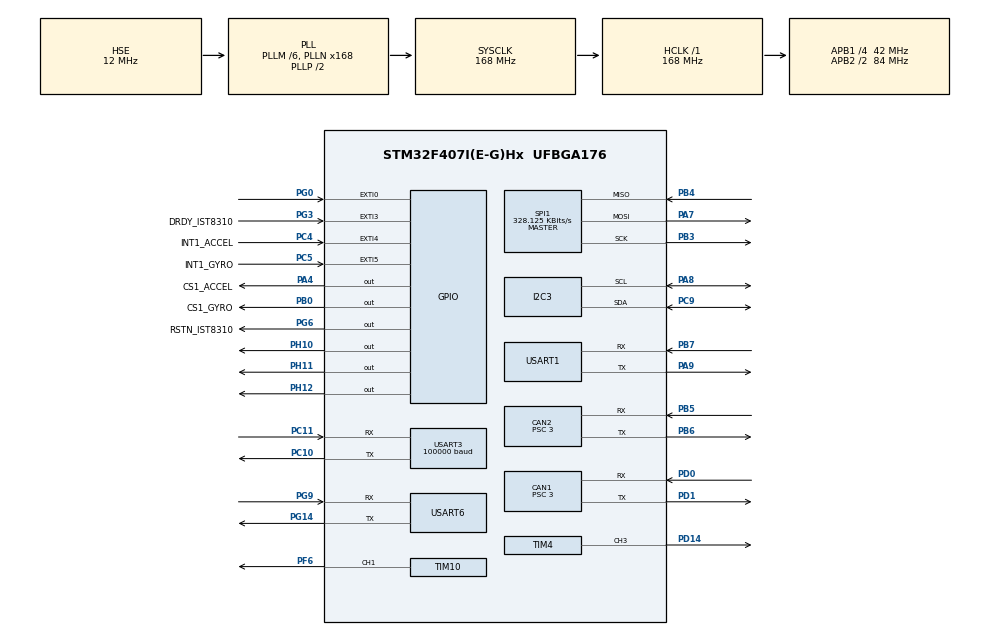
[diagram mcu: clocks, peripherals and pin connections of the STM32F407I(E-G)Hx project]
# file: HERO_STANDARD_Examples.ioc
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CAN1.BS1=CAN_BS1_10TQ
CAN1.BS2=CAN_BS2_3TQ
CAN1.CalculateTimeQuantum=71.42857142857143
CAN1.Prescaler=3
CAN2.BS1=CAN_BS1_10TQ
CAN2.BS2=CAN_BS2_3TQ
CAN2.CalculateTimeQuantum=71.42857142857143
CAN2.Prescaler=3
Dma.Request0=SPI1_RX
Dma.Request1=SPI1_TX
Dma.Request2=USART3_RX
Dma.SPI1_RX.0.Direction=DMA_PERIPH_TO_MEMORY
Dma.SPI1_RX.0.FIFOMode=DMA_FIFOMODE_DISABLE
Dma.SPI1_RX.0.Instance=DMA2_Stream2
Dma.SPI1_RX.0.MemDataAlignment=DMA_MDATAALIGN_BYTE
Dma.SPI1_RX.0.MemInc=DMA_MINC_ENABLE
Dma.SPI1_RX.0.Mode=DMA_NORMAL
Dma.SPI1_RX.0.PeriphDataAlignment=DMA_PDATAALIGN_BYTE
Dma.SPI1_RX.0.PeriphInc=DMA_PINC_DISABLE
Dma.SPI1_RX.0.Priority=DMA_PRIORITY_VERY_HIGH
Dma.SPI1_TX.1.Direction=DMA_MEMORY_TO_PERIPH
Dma.SPI1_TX.1.FIFOMode=DMA_FIFOMODE_DISABLE
Dma.SPI1_TX.1.Instance=DMA2_Stream3
Dma.SPI1_TX.1.MemDataAlignment=DMA_MDATAALIGN_BYTE
Dma.SPI1_TX.1.MemInc=DMA_MINC_ENABLE
Dma.SPI1_TX.1.Mode=DMA_NORMAL
Dma.SPI1_TX.1.PeriphDataAlignment=DMA_PDATAALIGN_BYTE
Dma.SPI1_TX.1.PeriphInc=DMA_PINC_DISABLE
Dma.SPI1_TX.1.Priority=DMA_PRIORITY_HIGH
Dma.USART3_RX.2.Direction=DMA_PERIPH_TO_MEMORY
Dma.USART3_RX.2.FIFOMode=DMA_FIFOMODE_DISABLE
Dma.USART3_RX.2.Instance=DMA1_Stream1
Dma.USART3_RX.2.MemDataAlignment=DMA_MDATAALIGN_BYTE
Dma.USART3_RX.2.MemInc=DMA_MINC_ENABLE
Dma.USART3_RX.2.Mode=DMA_NORMAL
Dma.USART3_RX.2.PeriphDataAlignment=DMA_PDATAALIGN_BYTE
Dma.USART3_RX.2.PeriphInc=DMA_PINC_DISABLE
Dma.USART3_RX.2.Priority=DMA_PRIORITY_HIGH
FREERTOS.INCLUDE_eTaskGetState=1
FREERTOS.INCLUDE_pcTaskGetTaskName=1
FREERTOS.INCLUDE_uxTaskGetStackHighWaterMark=1
FREERTOS.INCLUDE_vTaskCleanUpResources=1
FREERTOS.INCLUDE_vTaskDelayUntil=1
FREERTOS.INCLUDE_xEventGroupSetBitFromISR=1
FREERTOS.INCLUDE_xQueueGetMutexHolder=1
FREERTOS.INCLUDE_xSemaphoreGetMutexHolder=1
FREERTOS.INCLUDE_xTaskAbortDelay=1
FREERTOS.INCLUDE_xTaskGetCurrentTaskHandle=1
FREERTOS.INCLUDE_xTaskGetHandle=1
FREERTOS.INCLUDE_xTimerPendFunctionCall=1
FREERTOS.Tasks01=test,24,128,test_task,As weak,NULL,Dynamic,NULL,NULL
FREERTOS.configTOTAL_HEAP_SIZE=24576
I2C3.I2C_Mode=I2C_Fast
Mcu.Family=STM32F4
Mcu.Name=STM32F407I(E-G)Hx
Mcu.Package=UFBGA176
NVIC.CAN1_RX0_IRQn=true\:5\:0\:false\:false\:true\:true\:true\:true
NVIC.CAN2_RX0_IRQn=true\:5\:0\:false\:false\:true\:true\:true\:true
NVIC.DMA1_Stream1_IRQn=true\:5\:0\:false\:false\:true\:true\:false\:true
NVIC.DMA2_Stream2_IRQn=true\:5\:0\:false\:false\:true\:false\:false\:true
NVIC.DMA2_Stream3_IRQn=true\:5\:0\:false\:false\:true\:true\:false\:true
NVIC.EXTI0_IRQn=true\:6\:0\:true\:false\:true\:true\:true\:true
NVIC.EXTI3_IRQn=true\:5\:0\:true\:false\:true\:true\:true\:true
NVIC.EXTI4_IRQn=true\:5\:0\:true\:false\:true\:true\:true\:true
NVIC.EXTI9_5_IRQn=true\:5\:0\:true\:false\:true\:true\:true\:true
NVIC.PriorityGroup=NVIC_PRIORITYGROUP_4
NVIC.TIM2_IRQn=true\:5\:0\:false\:false\:true\:true\:true\:true
NVIC.TIM3_IRQn=true\:6\:0\:true\:false\:true\:true\:true\:true
NVIC.USART1_IRQn=true\:5\:0\:false\:false\:true\:true\:true\:true
NVIC.USART3_IRQn=true\:5\:0\:false\:false\:true\:true\:true\:true
NVIC.USART6_IRQn=true\:5\:0\:false\:false\:true\:true\:true\:true
PA13.Mode=Serial_Wire
PA13.Signal=SYS_JTMS-SWDIO
PA14.Mode=Serial_Wire
PA14.Signal=SYS_JTCK-SWCLK
PA4.GPIO_Label=CS1_ACCEL
PA4.GPIO_PuPd=GPIO_PULLUP
PA4.GPIO_Speed=GPIO_SPEED_FREQ_HIGH
PA4.PinState=GPIO_PIN_SET
PA4.Signal=GPIO_Output
PA7.GPIO_PuPd=GPIO_PULLUP
PA7.Mode=Full_Duplex_Master
PA7.Signal=SPI1_MOSI
PA8.Mode=I2C
PA8.Signal=I2C3_SCL
PA9.Mode=Asynchronous
PA9.Signal=USART1_TX
PB0.GPIO_Label=CS1_GYRO
PB0.GPIO_PuPd=GPIO_PULLUP
PB0.GPIO_Speed=GPIO_SPEED_FREQ_HIGH
PB0.PinState=GPIO_PIN_SET
PB0.Signal=GPIO_Output
PB3.GPIO_PuPd=GPIO_PULLUP
PB3.Mode=Full_Duplex_Master
PB3.Signal=SPI1_SCK
PB4.GPIO_PuPd=GPIO_PULLUP
PB4.Mode=Full_Duplex_Master
PB4.Signal=SPI1_MISO
PB5.Mode=Slave
PB5.Signal=CAN2_RX
PB6.Mode=Slave
PB6.Signal=CAN2_TX
PB7.Mode=Asynchronous
PB7.Signal=USART1_RX
PC10.Mode=Asynchronous
PC10.Signal=USART3_TX
PC11.Mode=Asynchronous
PC11.Signal=USART3_RX
PC4.GPIO_Label=INT1_ACCEL
PC4.GPIO_ModeDefaultEXTI=GPIO_MODE_IT_FALLING
PC4.GPIO_PuPd=GPIO_PULLUP
PC4.Signal=GPXTI4
PC5.GPIO_Label=INT1_GYRO
PC5.GPIO_ModeDefaultEXTI=GPIO_MODE_IT_FALLING
PC5.GPIO_PuPd=GPIO_PULLUP
PC5.Signal=GPXTI5
PC9.Mode=I2C
PC9.Signal=I2C3_SDA
PD0.Mode=Master
PD0.Signal=CAN1_RX
PD1.Mode=Master
PD1.Signal=CAN1_TX
PD14.Signal=S_TIM4_CH3
PF6.GPIO_PuPd=GPIO_PULLUP
PF6.GPIO_Speed=GPIO_SPEED_FREQ_HIGH
PF6.Signal=S_TIM10_CH1
PG0.GPIO_ModeDefaultEXTI=GPIO_MODE_IT_FALLING
PG0.GPIO_PuPd=GPIO_PULLUP
PG0.Signal=GPXTI0
PG14.Mode=Asynchronous
PG14.Signal=USART6_TX
PG3.GPIO_Label=DRDY_IST8310
PG3.GPIO_ModeDefaultEXTI=GPIO_MODE_IT_FALLING
PG3.GPIO_PuPd=GPIO_PULLUP
PG3.Signal=GPXTI3
PG6.GPIO_Label=RSTN_IST8310
PG6.GPIO_PuPd=GPIO_PULLUP
PG6.GPIO_Speed=GPIO_SPEED_FREQ_MEDIUM
PG6.PinState=GPIO_PIN_SET
PG6.Signal=GPIO_Output
PG9.Mode=Asynchronous
PG9.Signal=USART6_RX
PH0-OSC_IN.Mode=HSE-External-Oscillator
PH0-OSC_IN.Signal=RCC_OSC_IN
PH1-OSC_OUT.Mode=HSE-External-Oscillator
PH1-OSC_OUT.Signal=RCC_OSC_OUT
PH10.Signal=GPIO_Output
PH11.Signal=GPIO_Output
PH12.Signal=GPIO_Output
ProjectManager.HeapSize=0x2000
ProjectManager.StackSize=0x2000
ProjectManager.TargetToolchain=MDK-ARM V5
RCC.48MHZClocksFreq_Value=48000000
RCC.AHBFreq_Value=168000000
RCC.APB1CLKDivider=RCC_HCLK_DIV4
RCC.APB1Freq_Value=42000000
RCC.APB1TimFreq_Value=84000000
RCC.APB2CLKDivider=RCC_HCLK_DIV2
RCC.APB2Freq_Value=84000000
RCC.APB2TimFreq_Value=168000000
RCC.CortexFreq_Value=168000000
RCC.HCLKFreq_Value=168000000
RCC.HSE_VALUE=12000000
RCC.HSI_VALUE=16000000
RCC.LSE_VALUE=32768
RCC.PLLM=6
RCC.PLLN=168
RCC.PLLQ=7
RCC.PLLSourceVirtual=RCC_PLLSOURCE_HSE
RCC.RCC_RTC_Clock_SourceVirtual=RCC_RTCCLKSOURCE_HSE_DIV30
RCC.RCC_RTC_Clock_Source_FROM_HSE=RCC_RTCCLKSOURCE_HSE_DIV30
RCC.SYSCLKFreq_VALUE=168000000
RCC.SYSCLKSource=RCC_SYSCLKSOURCE_PLLCLK
RCC.VCOOutputFreq_Value=336000000
SH.S_TIM10_CH1.0=TIM10_CH1,PWM Generation1 CH1
SH.S_TIM4_CH3.0=TIM4_CH3,PWM Generation3 CH3
SPI1.BaudRatePrescaler=SPI_BAUDRATEPRESCALER_256
SPI1.CLKPhase=SPI_PHASE_2EDGE
SPI1.CLKPolarity=SPI_POLARITY_HIGH
SPI1.CalculateBaudRate=328.125 KBits/s
SPI1.Direction=SPI_DIRECTION_2LINES
SPI1.Mode=SPI_MODE_MASTER
SPI1.VirtualType=VM_MASTER
TIM10.Channel=TIM_CHANNEL_1
TIM10.Period=4999
TIM2.Period=100
TIM2.Prescaler=8399
TIM3.AutoReloadPreload=TIM_AUTORELOAD_PRELOAD_ENABLE
TIM3.Period=10
TIM3.Prescaler=8399
TIM4.Channel-PWM\ Generation3\ CH3=TIM_CHANNEL_3
TIM4.Period=2099
TIM5.Period=65535
TIM5.Prescaler=0
USART1.VirtualMode=VM_ASYNC
USART3.BaudRate=100000
USART3.Parity=PARITY_EVEN
USART3.VirtualMode=VM_ASYNC
USART6.VirtualMode=VM_ASYNC
VP_FREERTOS_VS_CMSIS_V1.Mode=CMSIS_V1
VP_TIM10_VS_ClockSourceINT.Mode=Enable_Timer
VP_TIM2_VS_ClockSourceINT.Mode=Internal
VP_TIM3_VS_ClockSourceINT.Mode=Internal
VP_TIM4_VS_ClockSourceINT.Mode=Internal
VP_TIM5_VS_ClockSourceINT.Mode=Internal
board=custom

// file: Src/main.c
/* USER CODE BEGIN Header */
/**
  ******************************************************************************
  * @file           : main.c
  * @brief          : Main program body
  ******************************************************************************
  * @attention
  *
  * <h2><center>&copy; Copyright (c) 2019 STMicroelectronics.
  * All rights reserved.</center></h2>
  *
  * This software component is licensed by ST under Ultimate Liberty license
  * SLA0044, the "License"; You may not use this file except in compliance with
  * the License. You may obtain a copy of the License at:
  *                             www.st.com/SLA0044
  *
  ******************************************************************************
  */
/* USER CODE END Header */

#include "main.h"
#include "cmsis_os.h"
#include "can.h"
#include "dma.h"
#include "i2c.h"
#include "spi.h"
#include "tim.h"
#include "usart.h"
#include "gpio.h"

/* USER CODE BEGIN Includes */
#include "bsp_delay.h"
#include "usart.h"
#include "stdlib.h"
/* USER CODE END Includes */

/* USER CODE BEGIN PV */
unsigned char aRxBuffer1[1];		// 用来接收串口1发送的数据
unsigned char aRxBuffer2[1];		// 用来接收串口2发送的数据
int flag_cap = 0;               //电容串口初始化完成标志

/* USER CODE END PV */

void SystemClock_Config(void);
void MX_FREERTOS_Init(void);

int main(void)
{

  /* MCU Configuration--------------------------------------------------------*/

  /* Reset of all peripherals, Initializes the Flash interface and the Systick. */
  HAL_Init();

  /* Configure the system clock */
  SystemClock_Config();

  /* Initialize all configured peripherals */
  MX_GPIO_Init();
  MX_SPI1_Init();
  MX_TIM5_Init();
  MX_I2C3_Init();
  MX_TIM10_Init();
  MX_USART1_UART_Init();
  MX_DMA_Init();
  MX_TIM3_Init();
  MX_CAN1_Init();
  MX_CAN2_Init();
  MX_TIM4_Init();
  MX_USART3_UART_Init();
  MX_USART6_UART_Init();
  MX_TIM2_Init();
  /* USER CODE BEGIN 2 */
		printf("HAL READY\r\n");
    delay_init();

		//延时初始化
		HAL_TIM_Base_Start(&htim4);
    //start pwm channel
    //开启PWM通道
    HAL_TIM_PWM_Start(&htim4, TIM_CHANNEL_3);

		GYRO_SIX_AXIS_Init();
		//陀螺仪初始化
		printf("gyro READY\r\n");

		Chaiss_PID_Init();
		printf("Chassis PID READY\r\n");
		//底盘PID初始化

		can_filter_init();
		printf("gimbal READY\r\n");
		//can_filter初始化

		printf("CAN READY\r\n");
		gimbal_init();
		//云台初始化
		Shoot_Init();
		//发射初始化
		printf("SHOOT READY\r\n");

		remote_control_init();
		printf("REMOTE READY\r\n");

		HAL_TIM_Base_Start_IT(&htim3);
		//陀螺仪处理中断开启

		HAL_TIM_Base_Start_IT(&htim2);

		//CAN发送中断开启
		printf("TIM READY\r\n");

		__HAL_UART_ENABLE_IT(&huart1, UART_IT_RXNE);  //receive interrupt
		//__HAL_UART_ENABLE_IT(&huart1, UART_IT_IDLE);  //idle interrupt
    __HAL_UART_ENABLE_IT(&huart6, UART_IT_RXNE);  //receive interrupt
		printf("UART READY\r\n");
		CAP_SEND( 0x00 , 0x06 );

		buzzer_start();

	/* 未用FreeRtos时以下两个函数需要被注释
	MX_FREERTOS_Init();
	osKernelStart();
	*/
  /* USER CODE END 2 */

  /* Call init function for freertos objects (in freertos.c) */
  //MX_FREERTOS_Init();

  /* Start scheduler */
  //osKernelStart();

  /* We should never get here as control is now taken by the scheduler */

  /* Infinite loop */
  while (1)
  {

  }
}

void SystemClock_Config(void)
{
  RCC_OscInitTypeDef RCC_OscInitStruct = {0};
  RCC_ClkInitTypeDef RCC_ClkInitStruct = {0};

  /** Configure the main internal regulator output voltage
  */
  __HAL_RCC_PWR_CLK_ENABLE();
  __HAL_PWR_VOLTAGESCALING_CONFIG(PWR_REGULATOR_VOLTAGE_SCALE1);
  /** Initializes the CPU, AHB and APB busses clocks
  */
  RCC_OscInitStruct.OscillatorType = RCC_OSCILLATORTYPE_HSE;
  RCC_OscInitStruct.HSEState = RCC_HSE_ON;
  RCC_OscInitStruct.PLL.PLLState = RCC_PLL_ON;
  RCC_OscInitStruct.PLL.PLLSource = RCC_PLLSOURCE_HSE;
  RCC_OscInitStruct.PLL.PLLM = 6;
  RCC_OscInitStruct.PLL.PLLN = 168;
  RCC_OscInitStruct.PLL.PLLP = RCC_PLLP_DIV2;
  RCC_OscInitStruct.PLL.PLLQ = 7;
  if (HAL_RCC_OscConfig(&RCC_OscInitStruct) != HAL_OK)
  {
    Error_Handler();
  }
  /** Initializes the CPU, AHB and APB busses clocks
  */
  RCC_ClkInitStruct.ClockType = RCC_CLOCKTYPE_HCLK|RCC_CLOCKTYPE_SYSCLK
                              |RCC_CLOCKTYPE_PCLK1|RCC_CLOCKTYPE_PCLK2;
  RCC_ClkInitStruct.SYSCLKSource = RCC_SYSCLKSOURCE_PLLCLK;
  RCC_ClkInitStruct.AHBCLKDivider = RCC_SYSCLK_DIV1;
  RCC_ClkInitStruct.APB1CLKDivider = RCC_HCLK_DIV4;
  RCC_ClkInitStruct.APB2CLKDivider = RCC_HCLK_DIV2;

  if (HAL_RCC_ClockConfig(&RCC_ClkInitStruct, FLASH_LATENCY_5) != HAL_OK)
  {
    Error_Handler();
  }
}

/* USER CODE BEGIN 4 */

/**
  * @brief          计算中断
  * @param[out]     角度值保存在 INS_angle[] 中
  * @retval
  * @author    			Chen
  */
void HAL_TIM_PeriodElapsedCallback(TIM_HandleTypeDef *htim)
{

	  static int htim2_count[4];

				if (htim == (&htim3)) 	//陀螺仪处理 1ms
				{
						GYRO_SIX_AXIS();
				}

				if (htim == (&htim2)) //can发送中断 10ms
				{
									htim2_count[0]++;
									htim2_count[1]++;

									/*    第二更新速度等级执行任务 频率 1/10    */

									if(htim2_count[0]>10)
									{
										htim2_count[0]=0;
									}

									/*    第三更新速度等级执行任务 频率 1/20   */

									if(htim2_count[1]>20)
									{
										 htim2_count[1]=0;
										 HAL_GPIO_TogglePin(GPIOH, GPIO_PIN_11);
									}
									/*第一更新速度等级执行任务*/

									LEVEL_CONTROL(1);
									Shoot_Task();
									GIMBAL_TASK();
									Chassis_task();
				}
}

/**
 * @brief   串口1接收中断 接收电容数据
 * @author  Chen
*/
unsigned char CAP_DATA[20];
int count = 0;
float V;

//void USART1_IRQHandler(void)
//{
//		flag_cap = 1;
//    if(huart1.Instance->SR & UART_FLAG_RXNE)
//    {
//        CAP_DATA[count++] = huart1.Instance->DR;
//		}
//		else if(huart1.Instance->SR & UART_FLAG_IDLE)
//    {

//         CAP_DATA[count++] = huart1.Instance->DR;
//				 count = 0;
//						if(CAP_DATA[0] == 0xff)
//						{
//									data_v.ch[0] = CAP_DATA[1];
//									data_v.ch[1] = CAP_DATA[2];
//									data_v.ch[2] = CAP_DATA[3];
//									data_v.ch[3] = CAP_DATA[4];
//
//
//									data_power.ch[0] = CAP_DATA[5];
//									data_power.ch[1] = CAP_DATA[6];
//									data_power.ch[2] = CAP_DATA[7];
//									data_power.ch[3] = CAP_DATA[8];
//
//									data_v_out.ch[0] = CAP_DATA[9];
//									data_v_out.ch[1] = CAP_DATA[10];
//									data_v_out.ch[2] = CAP_DATA[11];
//									data_v_out.ch[3] = CAP_DATA[12];
//
//									BUCK_SWITCH = CAP_DATA[13];
//									POWER_SETED = CAP_DATA[14];
//								  //usart1_report_imu(data_v.f*1000,data_power.f*1000,data_v_out.f*1000,0,0);
//						}
//    }
//}
unsigned char GimbalRxBuffer[50];
unsigned int  GimbalRealBuf[7] = {0};
unsigned int  goal;
unsigned int  fire;
unsigned int  yaw_f;
int  yaw_angel;
unsigned int  pitch_f;
int  pitch_angel;

void USART1_IRQHandler(void)
{
		if(huart1.Instance->SR & UART_FLAG_RXNE)
		{
				GimbalRxBuffer[count++] = huart1.Instance->DR;
				if (GimbalRxBuffer[count - 1] == 0x45)
				{
						if (GimbalRxBuffer[0] == 0x53)
						{
							goal = GimbalRxBuffer[1]; /* 是否有目标 */
							fire = GimbalRxBuffer[2]; /* 是否开火  */

							yaw_f = GimbalRxBuffer[3]; /* yaw正负 正:1 负:0  */
							GimbalRealBuf[3] = GimbalRxBuffer[5] << 8 | GimbalRxBuffer[4]; /* yaw偏差  */
							pitch_f = GimbalRxBuffer[6]; /* pitch正负 正:1 负:0  >*/
							GimbalRealBuf[5] = GimbalRxBuffer[8] << 8 | GimbalRxBuffer[7]; /*  pitch偏差  */

							if(yaw_f == 1)
							{
								yaw_angel = -GimbalRealBuf[3];
							}
							else
							{
								yaw_angel = GimbalRealBuf[3];
							}

							if(pitch_f == 1)
							{
								pitch_angel = -GimbalRealBuf[5];
							}
							else
							{
								pitch_angel = GimbalRealBuf[5];
							}

							GimbalRealBuf[6] = GimbalRxBuffer[10] << 8 | GimbalRxBuffer[9]; /*  距离  */
							count = 0;
							//memset(GimbalRxBuffer, 0x00, sizeof(GimbalRxBuffer));
						}
						else
						{
							count = 0;
						}
				}
		}
}

void USART6_IRQHandler(void)
{
    volatile uint8_t receive;
    if(huart6.Instance->SR & UART_FLAG_RXNE)
    {
        receive = huart6.Instance->DR;
    }
}

/**
 * @brief  电容控制
 * @param[in]  POWER_LEVEL    0X00 - 0X03  代表三个等级
 * @param[in]  BUCK_CONTROL   0x05 电容充电关  0x06电容充电开
*/
void CAP_SEND(unsigned char POWER_LEVEL,unsigned char BUCK_CONTROL)
{
	unsigned char ch[4];
	ch[0] = 0xff;
	ch[1] = POWER_LEVEL;
	ch[2] = BUCK_CONTROL;
	ch[3] = 0xaa;
	HAL_UART_Transmit(&huart1,ch,4,0xFFFF);
}

/* USER CODE END 4 */

void Error_Handler(void)
{
}

/************************ (C) COPYRIGHT STMicroelectronics *****END OF FILE****/
